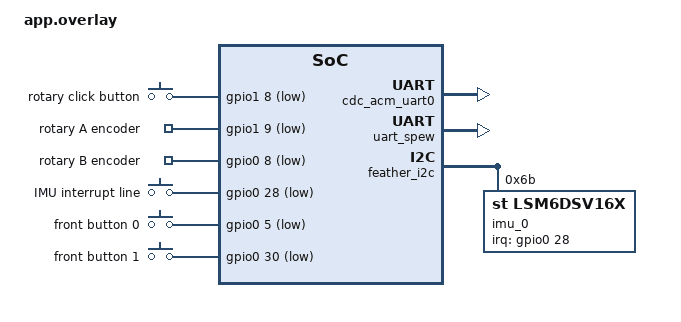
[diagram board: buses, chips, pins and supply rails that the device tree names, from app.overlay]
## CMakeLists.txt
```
# SPDX-License-Identifier: Apache-2.0

cmake_minimum_required(VERSION 3.20.0)
find_package(Zephyr REQUIRED HINTS $ENV{ZEPHYR_BASE})
project(console)

include_directories(include)

FILE(GLOB app_sources src/*.c)
target_sources(app PRIVATE ${app_sources})
```

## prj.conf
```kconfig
CONFIG_USB_DEVICE_STACK=y
CONFIG_USB_DEVICE_PRODUCT="Zephyr USB console sample"
CONFIG_USB_DEVICE_PID=0x0004
CONFIG_USB_DEVICE_INITIALIZE_AT_BOOT=n

CONFIG_SERIAL=y
CONFIG_CONSOLE=y
CONFIG_UART_CONSOLE=y
CONFIG_UART_LINE_CTRL=y

CONFIG_I2C=y
CONFIG_SENSOR=y
CONFIG_LSM6DSV16X=y
CONFIG_LSM6DSV16X_TRIGGER_GLOBAL_THREAD=y
CONFIG_CBPRINTF_FP_SUPPORT=y

CONFIG_POLL=y
CONFIG_DEBUG_OPTIMIZATIONS=y
```

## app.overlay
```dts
/*
 * Copyright (c) 2021 Nordic Semiconductor ASA
 *
 * SPDX-License-Identifier: Apache-2.0
 */

/ {
	chosen {
		zephyr,console = &cdc_acm_uart0;
	};

  buttons {
    rotary_click_0: rotary_click0 {
      gpios = <&gpio1 8 (GPIO_PULL_UP | GPIO_ACTIVE_LOW)>;
      label = "rotary click button";
    };
    rotary_a: rotarya {
      gpios = <&gpio1 9 (GPIO_PULL_UP | GPIO_ACTIVE_LOW)>;
      label = "rotary A encoder";
    };
    rotary_b: rotaryb {
      gpios = <&gpio0 8 (GPIO_PULL_UP | GPIO_ACTIVE_LOW)>;
      label = "rotary B encoder";
    };

    int_0: int0 {
      gpios = <&gpio0 28 (GPIO_PULL_UP | GPIO_ACTIVE_LOW)>;
      label = "IMU interrupt line";
    };

    button_0: button0 {
      gpios = <&gpio0 5 (GPIO_PULL_UP | GPIO_ACTIVE_LOW)>;
      label = "front button 0";
    };
    button_1: button1 {
      gpios = <&gpio0 30 (GPIO_PULL_UP | GPIO_ACTIVE_LOW)>;
      label = "front button 1";
    };
  };
};

&zephyr_udc0 {
	cdc_acm_uart0: cdc_acm_uart0 {
		compatible = "zephyr,cdc-acm-uart";
	};

 	uart_spew: cdc_acm_uart1 {
		compatible = "zephyr,cdc-acm-uart";
	};
};

&feather_serial {
  status = "disabled";
};

&feather_i2c {
  imu_0: imu@6b {
    status = "ok";
    compatible = "st,lsm6dsv16x";

    reg = <0x6B>;
    irq-gpios = <&gpio0 28 (GPIO_ACTIVE_HIGH | GPIO_PULL_DOWN)>;

    #gyro-odr  = <0x2>;
    #accel-odr = <0x2>;
 
    gyro-odr  = <0x9>; 
    accel-odr = <0x9>;
  };
};
```

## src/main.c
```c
#include <zephyr/kernel.h>
#include <zephyr/sys/printk.h>
#include <zephyr/usb/usb_device.h>
#include <zephyr/usb/usbd.h>
#include <zephyr/drivers/uart.h>
#include <zephyr/drivers/gpio.h>
#include <zephyr/drivers/sensor.h>
#include <zephyr/drivers/timer/system_timer.h>
#include <assert.h>

#include "ui.h"
#include "imu.h"
#include "usb.h"
#include "tlv.h"

#define ENCODER_THREAD_SIZE 1024
K_THREAD_STACK_DEFINE(encoder_thread_stack, ENCODER_THREAD_SIZE);
struct k_thread encoder_thread;

#define IMU_THREAD_SIZE 1024
K_THREAD_STACK_DEFINE(imu_thread_stack, IMU_THREAD_SIZE);
struct k_thread imu_thread;

#define USB_THREAD_SIZE 1024
K_THREAD_STACK_DEFINE(usb_thread_stack, USB_THREAD_SIZE);
struct k_thread usb_thread;

int main()
{
  init_usb();
  init_imu();
  init_encoder();

  k_thread_create(&encoder_thread, encoder_thread_stack,
     K_THREAD_STACK_SIZEOF(encoder_thread_stack),
     rotary_encoder_entry,
     NULL, NULL, NULL,
     0, 0, K_NO_WAIT);


  k_thread_create(&usb_thread, usb_thread_stack,
     K_THREAD_STACK_SIZEOF(usb_thread_stack),
     usb_entry,
     NULL, NULL, NULL,
     1, 0, K_NO_WAIT);

/*
  k_thread_create(&imu_thread, imu_thread_stack,
     K_THREAD_STACK_SIZEOF(imu_thread_stack),
     send_tlv_entry,
     NULL, NULL, NULL,
     3, 0, K_NO_WAIT);
*/
}
```

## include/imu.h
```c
#pragma once 

// See page 9/198, rev 4 of the IMU data sheet for meaning 
typedef struct {
  // Accelerometer (m/s^2)
  float a_x;
  float a_y;
  float a_z;
  
  // Gyroscope, (rads/s)
  float r_p;
  float r_r;
  float r_y;

  // this value increases by 32768 each second
  uint32_t cpu_cycles_since_boot;
} imu_t;

void init_imu(void);
```

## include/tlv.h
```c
#pragma once

#define MAGIC_BYTE_0_1 0x0102
#define MAGIC_BYTE_2_3 0x0304
#define MAGIC_BYTE_4_5 0x0506
#define MAGIC_BYTE_6_7 0x0708

#define MAX_TLV_SIZE (124)

typedef enum {
  TLV_TYPE_IMU,
  TLV_TYPE_UI,
  TLV_TYPE_MAX
} tlv_message_type_e;

// Only two TLV structures are supported, IMU and Encoder
// wire format is as follows:
//
// (tlv_header_structure)
// (tlv_info)
// (data)
//
// For simplicities sake, we will only send a single TLV at a time

// Made to match the encoding of the IWR6843 header 
// structure. This way we can reuse the same parsing 
// code for both the nordic(what this code is running on)
// as well as the radar.
typedef struct {
    uint16_t    magicWord[4];
    uint32_t    not_used0;
    uint32_t    totalPacketLen;
    uint32_t    not_used1; 
    uint32_t    tlvNumber;
    uint32_t    timeCpuCycles;
    uint32_t    not_used2;
    uint32_t    not_used3;
    uint32_t    not_used4;
} tlv_header_structure;

typedef struct {
  uint32_t type;
  uint32_t data_length;
} tlv_message;

size_t encode_tlv(uint8_t * const, const size_t, const void*, tlv_message_type_e const, size_t const);
```

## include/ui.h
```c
#pragma once 

#define LEFT   0
#define RIGHT  1
#define BUTTON 2

#define DEBOUNCE_TIME_MS (8)

typedef enum {
  ROTARY_A = 0,
  ROTARY_B
} rotary_encoder_e;

typedef uint32_t ui_event_t;
typedef enum { 
  ROTARY_BUTTON = 0,
  ROTARY_LEFT,
  ROTARY_RIGHT,
  BUTTON_0,
  BUTTON_1,
  TOTAL_EVENT_COUNT
} ui_event_e;

typedef struct {
  struct gpio_callback * callback;
  gpio_callback_handler_t handler;
  gpio_port_pins_t pin_mask;
  const struct gpio_dt_spec* gpio_dt_spec;
} gpio_init_t;

void init_encoder(void);
void rotary_encoder_entry(void*, void*, void*);
void button_entry(void*, void*, void*);
```

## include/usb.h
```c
#pragma once 

extern struct k_msgq imu_ouput_msgq;
extern struct k_msgq ui_ouput_msgq;

void init_usb(void);
void usb_entry(void*, void*, void*);
```

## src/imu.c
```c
#include <zephyr/kernel.h>
#include <zephyr/sys/printk.h>
#include <zephyr/drivers/gpio.h>
#include <zephyr/drivers/sensor.h>
#include <zephyr/drivers/timer/system_timer.h>
#include <assert.h>

#include "imu.h"
#include "usb.h"

static inline float encode(struct sensor_value *val)
{
	return (val->val1 + (float)val->val2 / 1000000);
}

static void fetch_and_display(const struct device *dev)
{
  static imu_t imu_processed_data;
	static struct sensor_value a_x, a_y, a_z;
	static struct sensor_value r_x, r_y, r_z;
	static int trig_cnt;
  int rc;

	trig_cnt++;

	/* accel */
	rc = sensor_sample_fetch_chan(dev, SENSOR_CHAN_ACCEL_XYZ);
	sensor_channel_get(dev, SENSOR_CHAN_ACCEL_X, &a_x);
	sensor_channel_get(dev, SENSOR_CHAN_ACCEL_Y, &a_y);
	sensor_channel_get(dev, SENSOR_CHAN_ACCEL_Z, &a_z);

	/* gyro */
	rc |= sensor_sample_fetch_chan(dev, SENSOR_CHAN_GYRO_XYZ);
	sensor_channel_get(dev, SENSOR_CHAN_GYRO_X, &r_x);
	sensor_channel_get(dev, SENSOR_CHAN_GYRO_Y, &r_y);
	sensor_channel_get(dev, SENSOR_CHAN_GYRO_Z, &r_z);

  // Only send the data if we have both the gyro and accel data
  if(0 == rc)
  {
    // x/p, y and y/r and z/y are on the same "axis"
    imu_processed_data.a_x = encode(&a_x);
    imu_processed_data.a_y = encode(&a_y);
    imu_processed_data.a_z = encode(&a_z);

    imu_processed_data.r_p = encode(&r_x);
    imu_processed_data.r_r = encode(&r_y);
    imu_processed_data.r_y = encode(&r_z);
    
    imu_processed_data.cpu_cycles_since_boot = k_cycle_get_32();

    if(0)
    {
      printk("X (A:%f) (R:%f)\n", imu_processed_data.a_x, imu_processed_data.r_p);
      printk("Y (A:%f) (R:%f)\n", imu_processed_data.a_y, imu_processed_data.r_r);
      printk("Z (A:%f) (R:%f)\n", imu_processed_data.a_z, imu_processed_data.r_y);
      printk("\n");
    }
      
    k_msgq_put(&imu_ouput_msgq, &imu_processed_data, K_NO_WAIT);
  }
}

static void trigger_handler(const struct device *dev,
			    const struct sensor_trigger *trig)
{
	fetch_and_display(dev);
}

void init_imu()
{ 
	const struct device * volatile const dev_imu = DEVICE_DT_GET(DT_NODELABEL(imu_0));
	if (!device_is_ready(dev_imu))
  {
		printk("%s: device not ready.\n", dev_imu->name);
		assert(0);
	}

	struct sensor_trigger trig;
	trig.type = SENSOR_TRIG_DATA_READY;
	trig.chan = SENSOR_CHAN_ACCEL_XYZ;

  if (sensor_trigger_set(dev_imu, &trig, trigger_handler) != 0)
  {
		printk("Could not set sensor type and channel\n");
    assert(0);
		return;
	}
}
```

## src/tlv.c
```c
#include <zephyr/kernel.h>
#include <zephyr/sys/printk.h>
#include <zephyr/drivers/gpio.h>
#include <zephyr/drivers/sensor.h>
#include <zephyr/drivers/timer/system_timer.h>
#include <assert.h>

#include "ui.h"
#include "imu.h"
#include "usb.h"
#include "tlv.h"

void static encode_tlv_header(uint8_t*, size_t);
void static encode_tlv_message(uint8_t*, tlv_message_type_e const, const size_t);
void static encode_tlv_data(uint8_t*, const void*, const size_t);

size_t encode_tlv(uint8_t* const buff,
  const size_t buff_len, const void* data, tlv_message_type_e const type, size_t const data_length)
{

  size_t tlv_len = sizeof(tlv_header_structure) + sizeof(tlv_message) + data_length;
  assert(tlv_len <= buff_len); 
  
  encode_tlv_header(buff, tlv_len);
  encode_tlv_message(buff, type, data_length);
  encode_tlv_data(buff, data, data_length);

  return tlv_len; 
}

void static encode_tlv_header(uint8_t* tlv, size_t len)
{
  assert(tlv);
  static uint32_t tlvNumber;  
  tlv_header_structure* tlv_header_ptr = (tlv_header_structure*)tlv;

  tlv_header_ptr->magicWord[0] = MAGIC_BYTE_0_1;
  tlv_header_ptr->magicWord[1] = MAGIC_BYTE_2_3;
  tlv_header_ptr->magicWord[2] = MAGIC_BYTE_4_5;
  tlv_header_ptr->magicWord[3] = MAGIC_BYTE_6_7;

  tlv_header_ptr->totalPacketLen = len;
  tlv_header_ptr->tlvNumber      = tlvNumber++;
  tlv_header_ptr->timeCpuCycles  = k_cycle_get_32();
}

void static encode_tlv_message(uint8_t* tlv, tlv_message_type_e const type, const size_t data_length)
{
  assert(tlv);
  tlv += sizeof(tlv_header_structure);

  tlv_message* tlv_message_ptr   = (tlv_message*)tlv;
  tlv_message_ptr->type          = type;
  tlv_message_ptr->data_length   = data_length;
}

void static encode_tlv_data(uint8_t* tlv, const void* data, const size_t data_length)
{
  assert(tlv);
  tlv += sizeof(tlv_header_structure);
  tlv += sizeof(tlv_message);
  memcpy(tlv, data, data_length);
}
```

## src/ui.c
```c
#include <zephyr/kernel.h>
#include <zephyr/sys/printk.h>
#include <zephyr/usb/usb_device.h>
#include <zephyr/usb/usbd.h>
#include <zephyr/drivers/uart.h>
#include <zephyr/drivers/gpio.h>

#include <assert.h>
#include "ui.h"
#include "usb.h"
#include "tlv.h"

bool static debounce_handler(const ui_event_t);

#define QUEUE_ALIGNMENT     (4)

#define ROTARY_MESSAGE_SIZE (sizeof(ui_event_t))
#define ROTARY_QUEUE_LEN    (4)
K_MSGQ_DEFINE(rotary_msgq,
        ROTARY_MESSAGE_SIZE,
        ROTARY_QUEUE_LEN,
        QUEUE_ALIGNMENT);

#define BUTTON_MESSAGE_SIZE (sizeof(ui_event_t))
#define BUTTON_QUEUE_LEN    (4)
K_MSGQ_DEFINE(button_msgq,
        BUTTON_MESSAGE_SIZE,
        BUTTON_QUEUE_LEN,
        QUEUE_ALIGNMENT);

#define HANDLE_CALLBACK(gpio, queue) do { \
  if (debounce_handler(gpio)) { return; } \
  k_msgq_put(&queue, (int[]){gpio}, K_NO_WAIT); \
  } while(0)

// Rotary Encoder
static const struct gpio_dt_spec gpio_dt_spec_encoder_button = GPIO_DT_SPEC_GET(DT_NODELABEL(rotary_click_0), gpios);
static const struct gpio_dt_spec gpio_dt_spec_encoder_a = GPIO_DT_SPEC_GET(DT_NODELABEL(rotary_a), gpios);
static const struct gpio_dt_spec gpio_dt_spec_encoder_b = GPIO_DT_SPEC_GET(DT_NODELABEL(rotary_b), gpios);
static struct gpio_callback gpio_cb_data_encoder_button;
static struct gpio_callback gpio_cb_data_encoder_a;
static struct gpio_callback gpio_cb_data_encoder_b;

// Front Button
static const struct gpio_dt_spec gpio_dt_spec_button_0 = GPIO_DT_SPEC_GET(DT_NODELABEL(button_0), gpios);
static const struct gpio_dt_spec gpio_dt_spec_button_1 = GPIO_DT_SPEC_GET(DT_NODELABEL(button_1), gpios);
static struct gpio_callback gpio_cb_data_button_0;
static struct gpio_callback gpio_cb_data_button_1;

static void rotary_encoder_cb_a(const struct device *dev, struct gpio_callback *cb, uint32_t pins)
{
  HANDLE_CALLBACK(ROTARY_A, rotary_msgq);
}

static void rotary_encoder_cb_b(const struct device *dev, struct gpio_callback *cb, uint32_t pins)
{
  HANDLE_CALLBACK(ROTARY_B, rotary_msgq);
}

static void rotary_encoder_cb_button(const struct device *dev, struct gpio_callback *cb, uint32_t pins) 
{
  HANDLE_CALLBACK(ROTARY_BUTTON, ui_ouput_msgq);
}

static void button_cb_0(const struct device *dev, struct gpio_callback *cb, uint32_t pins)
{
  HANDLE_CALLBACK(BUTTON_0, ui_ouput_msgq);
}

static void button_cb_1(const struct device *dev, struct gpio_callback *cb, uint32_t pins)
{
  HANDLE_CALLBACK(BUTTON_1, ui_ouput_msgq);
}

static bool debounce_handler(const ui_event_t event)
{
  static uint64_t last_callback[TOTAL_EVENT_COUNT];

  if((k_uptime_get() - last_callback[event]) < DEBOUNCE_TIME_MS) { return true; }
  last_callback[event] = k_uptime_get();
  return false;
}

static void setup_pin(const struct gpio_dt_spec* gpio, struct gpio_callback* cb)
{
  int rc = -1;

  if (!gpio_is_ready_dt(gpio))
  {
		printk("Error: gpio port %s is not ready\n", gpio->port->name);
	  assert(0);
	}

	rc = gpio_pin_configure_dt(gpio, GPIO_INPUT);
	if (rc != 0)
  {
		printk("Error %d: failed to configure %s pin %d\n", rc, gpio->port->name, gpio->pin);
	  assert(0);
	}

	rc = gpio_pin_interrupt_configure_dt(gpio, GPIO_INT_EDGE_TO_ACTIVE);
	if (rc != 0)
  {
		printk("Error %d: failed to configure interrupt on %s pin %d\n", rc, gpio->port->name, gpio->pin);
	  assert(0);
	}

	gpio_add_callback(gpio->port, cb);
	printk("Set up button at %s pin %d\n", gpio->port->name, gpio->pin);
}

void init_encoder(void)
{
  gpio_init_t gpios[] =
  {
    { 
      &gpio_cb_data_encoder_button,
      rotary_encoder_cb_button,
      BIT(gpio_dt_spec_encoder_button.pin), 
      &gpio_dt_spec_encoder_button 
    }, 
    { 
      &gpio_cb_data_encoder_a,
      rotary_encoder_cb_a,
      BIT(gpio_dt_spec_encoder_a.pin),
      &gpio_dt_spec_encoder_a
    }, 
    { 
      &gpio_cb_data_encoder_b,
      rotary_encoder_cb_b,
      BIT(gpio_dt_spec_encoder_b.pin),
      &gpio_dt_spec_encoder_b
    },
    { 
      &gpio_cb_data_button_0,
      button_cb_0,
      BIT(gpio_dt_spec_button_0.pin),
      &gpio_dt_spec_button_0
    }, 
    { 
      &gpio_cb_data_button_1,
      button_cb_1,
      BIT(gpio_dt_spec_button_1.pin),
      &gpio_dt_spec_button_1
    },
  };

  for(int i = 0; i < ARRAY_SIZE(gpios); i++)
  {
	  gpio_init_callback(gpios[i].callback, gpios[i].handler, gpios[i].pin_mask); 
    setup_pin(gpios[i].gpio_dt_spec, gpios[i].callback);
  }
}

void rotary_encoder_entry(void* arg0, void* arg1, void* arg2)
{
#define WAIT 0
#define PEND 1

// This is the maximum time allowed between a->b or b->a transitions.
// Experimentally this ended up working well.
#define MAX_DELAY_ENCODER 20
  rotary_encoder_e expected_event;
  rotary_encoder_e event;
  ui_event_t dir;
  int rc;
  int state;

  while(true)
  {
    state = WAIT;
    switch(state)
    {
    case WAIT:
      k_msgq_get(&rotary_msgq, &event, K_FOREVER);
      if(ROTARY_A == event)
      {
        expected_event = ROTARY_B;
        dir            = ROTARY_RIGHT;
      }
      else
      { 
        expected_event = ROTARY_A;
        dir            = ROTARY_LEFT;
      }
      state = PEND;
    case PEND:
      for(int ms_waited = 0; ms_waited < MAX_DELAY_ENCODER; ms_waited++)
      {
        k_sleep(K_MSEC(1));
        rc = k_msgq_get(&rotary_msgq, &event, K_NO_WAIT);
        if(0 == rc)
        {
          if(expected_event == event) 
          {
            if(dir == ROTARY_LEFT) 
            {
              printk("ENCODER: LEFT\n");
            }
            else
            {
              printk("ENCODER: RIGHT\n");
            }
            k_msgq_put(&ui_ouput_msgq, &dir, K_NO_WAIT);
            break;
          }
          else 
          {
            printk("unexpected input\n");
            break;
          }
        }
      }
    default:
      k_sleep(K_MSEC(5));
    }
  }
}
```

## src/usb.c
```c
#include <zephyr/kernel.h>
#include <zephyr/sys/printk.h>
#include <zephyr/usb/usb_device.h>
#include <zephyr/usb/usbd.h>
#include <zephyr/drivers/uart.h>
#include <zephyr/drivers/gpio.h>
#include <zephyr/drivers/sensor.h>
#include <zephyr/drivers/timer/system_timer.h>
#include <assert.h>

#include "tlv.h"
#include "usb.h"
#include "imu.h"
#include "ui.h"

static void create_and_send_tlv(tlv_message_type_e const, uint8_t* const, size_t const);

#define QUEUE_ALIGNMENT  (4)

#define IMU_MESSAGE_SIZE (sizeof(imu_t))
#define IMU_QUEUE_LEN    (2)
K_MSGQ_DEFINE(imu_ouput_msgq,
        IMU_MESSAGE_SIZE,
        IMU_QUEUE_LEN,        
        QUEUE_ALIGNMENT);

#define ENCODER_MESSAGE_SIZE (sizeof(imu_t))
#define ENCODER_QUEUE_LEN    (2)
K_MSGQ_DEFINE(ui_ouput_msgq,
        ENCODER_MESSAGE_SIZE,
        ENCODER_QUEUE_LEN,       
        QUEUE_ALIGNMENT);

void init_usb()
{
  if (usb_enable(NULL))
  {
		assert(0);
	}

#ifdef WAIT_FOR_DTR
	const struct device *const console = DEVICE_DT_GET(DT_CHOSEN(zephyr_console));
	const struct device *const spew    = DEVICE_DT_GET(DT_NODELABEL(uart_spew));
  
  open_and_wait_for_drt(console);
  open_and_wait_for_drt(spew);
#endif
}

#ifdef WAIT_FOR_DTR
void open_and_wait_for_drt(const struct device *const dev)
{
	/* Wait until DTR is released, this happens when the user opens the /dev/ttyACM0 device */
	while (!dtr) 
  {
		uart_line_ctrl_get(dev, UART_LINE_CTRL_DTR, &dtr);
		k_sleep(K_MSEC(10));
	}
}
#endif 

void usb_entry(void* arg0, void* arg1, void* arg2)
{
  imu_t imu_sample;
  ui_event_t ui_event;

  struct k_poll_event events[2];
  k_poll_event_init(&events[0],
                    K_POLL_TYPE_FIFO_DATA_AVAILABLE,
                    K_POLL_MODE_NOTIFY_ONLY,
                    &imu_ouput_msgq);
  k_poll_event_init(&events[1],
                    K_POLL_TYPE_FIFO_DATA_AVAILABLE,
                    K_POLL_MODE_NOTIFY_ONLY,
                    &ui_ouput_msgq);
  
  while(1)
  {
    if(0 == k_poll(events, 2, K_FOREVER)) 
    {
      if(0 == k_msgq_get(&imu_ouput_msgq, &imu_sample, K_NO_WAIT))
      {
        printk("got an imu sample\n");
        create_and_send_tlv(TLV_TYPE_IMU, (uint8_t*)&imu_sample, sizeof(imu_sample));
      }
      if(0 == k_msgq_get(&ui_ouput_msgq, &ui_event, K_NO_WAIT))
      {
        printk("got an UI event (%d)\n", ui_event);
        create_and_send_tlv(TLV_TYPE_UI, (uint8_t*)&ui_event, sizeof(ui_event_t));
      }
    }
    events[0].state = K_POLL_STATE_NOT_READY;
    events[1].state = K_POLL_STATE_NOT_READY;
  }
}

static void tlv_send(const uint8_t * data, size_t len) 
{
  assert(data);

	const struct device *const spew = DEVICE_DT_GET(DT_NODELABEL(uart_spew));
  while(len--) {
    uart_poll_out(spew, *data++);
  }
}

static void create_and_send_tlv(tlv_message_type_e const type, uint8_t* const data, size_t const size)
{
  static uint8_t buff[MAX_TLV_SIZE];

  size_t len = encode_tlv(buff, MAX_TLV_SIZE, data, type, size); 
  tlv_send(buff, len);
}
```
